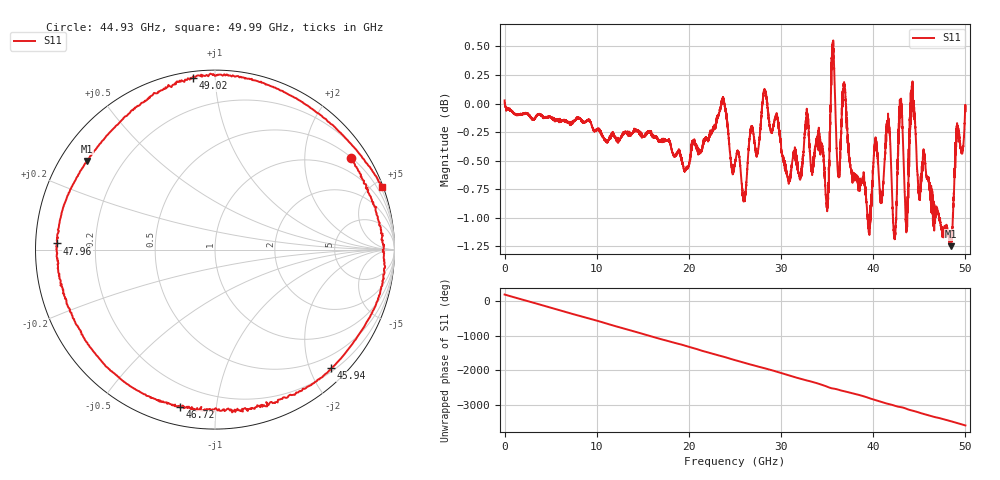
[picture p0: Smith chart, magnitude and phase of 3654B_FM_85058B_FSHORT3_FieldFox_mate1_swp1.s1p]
!Created with skrf (http://scikit-rf.org).
# Hz S RI R 50.0
!freq ReS11 ImS11
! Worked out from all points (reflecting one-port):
!   10000 points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, 5.3 MHz to 50 GHz, reference 50 ohm
!   lowest |S11| = -1.2 dB at 48.39 GHz (marker M1), VSWR 13.94, Z = 3.94 + j15.6 ohm
!   phase of S11 starts at 180 deg and turns -3760 deg over the sweep
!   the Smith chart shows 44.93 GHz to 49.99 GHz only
!   S11 on the Smith chart (normalised r, x): 44.93 GHz: 0.51, +3.20; 45.94 GHz: 0.25, -2.36; 46.72 GHz: 0.09, -0.80; 47.96 GHz: 0.06, +0.02; 49.02 GHz: 0.03, +0.88; 49.99 GHz: 0.11, +5.50
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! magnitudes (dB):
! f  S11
! 5.3 MHz  0.0
! 6.255 GHz  -0.1
! 12.51 GHz  -0.3
! 18.76 GHz  -0.4
! 23.67 GHz  0.0
! 25.01 GHz  -0.5
! 26.03 GHz  -0.8
! 28.24 GHz  0.1
! 31.26 GHz  -0.5
! 34.98 GHz  -0.9
! 35.64 GHz  0.5
! 36.18 GHz  -0.6
! 36.83 GHz  0.2
! 37.51 GHz  -0.5
! 39.55 GHz  -1.1
! 41.61 GHz  -0.1
! 42.32 GHz  -1.2
! 42.98 GHz  0.0
! 43.76 GHz  -0.8
! 44.25 GHz  0.0
! 44.93 GHz  -0.8
! 45.94 GHz  -0.7
! 46.72 GHz  -0.9
! 47.96 GHz  -1.1
! 48.39 GHz  -1.2
! 49.02 GHz  -0.3
! 49.99 GHz  -0.1
! 50 GHz  0.0
